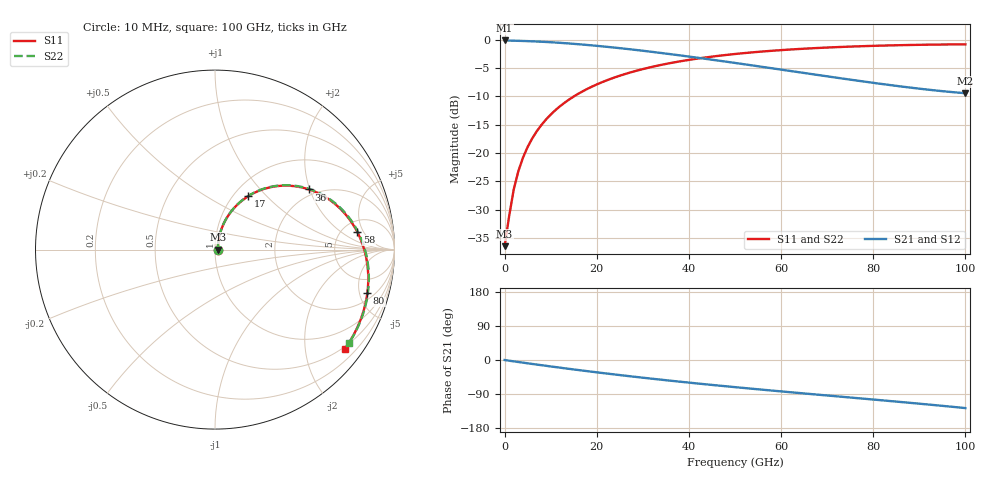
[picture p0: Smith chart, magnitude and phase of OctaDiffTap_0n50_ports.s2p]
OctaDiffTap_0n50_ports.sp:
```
* EQUIVALENT CIRCUIT FOR VECTOR FITTED S-MATRIX
* Created using scikit-rf vectorFitting.py
*
.SUBCKT s_equivalent p1 p2
*
* Port network for port 1
V1 p1 s1 0
R1 s1 0 50.0
Gd1_1 0 s1 p1 0 0.01599552009312769
Fd1_1 0 s1 V1 0.7997760046563844
Gr1_1_1 0 s1 x1_a1 0 -113489731719.4645
Gr2_re_1_1 0 s1 x2_re_a1 0 -180560594580.17593
Gr2_im_1_1 0 s1 x2_im_a1 0 -190664932451.18768
Gd1_2 0 s1 p2 0 0.0006462217204273629
Fd1_2 0 s1 V2 0.032311086021368146
Gr1_1_2 0 s1 x1_a2 0 111353248351.99422
Gr2_re_1_2 0 s1 x2_re_a2 0 -10677567519.90538
Gr2_im_1_2 0 s1 x2_im_a2 0 71355888488.53864
*
* State networks driven by port 1
Cx1_a1 x1_a1 0 1.0
Gx1_a1 0 x1_a1 p1 0 0.07071067811865475
Fx1_a1 0 x1_a1 V1 3.5355339059327378
Rp1_a1 0 x1_a1 3.516765606843797e-12
Cx2_re_a1 x2_re_a1 0 1.0
Gx2_re_a1 0 x2_re_a1 p1 0 0.1414213562373095
Fx2_re_a1 0 x2_re_a1 V1 7.0710678118654755
Rp2_re_re_a1 0 x2_re_a1 2.172697531740705e-12
Gp2_re_im_a1 0 x2_re_a1 x2_im_a1 0 1005660947023.6617
Cx2_im_a1 x2_im_a1 0 1.0
Gp2_im_re_a1 0 x2_im_a1 x2_re_a1 0 -1005660947023.6617
Rp2_im_im_a1 0 x2_im_a1 2.172697531740705e-12
*
* Port network for port 2
V2 p2 s2 0
R2 s2 0 50.0
Gd2_1 0 s2 p1 0 0.0006462217204283689
Fd2_1 0 s2 V1 0.032311086021418446
Gr1_2_1 0 s2 x1_a1 0 111353248361.01268
Gr2_re_2_1 0 s2 x2_re_a1 0 -10677567508.052387
Gr2_im_2_1 0 s2 x2_im_a1 0 71355888501.45067
Gd2_2 0 s2 p2 0 0.015010845901443082
Fd2_2 0 s2 V2 0.7505422950721541
Gr1_2_2 0 s2 x1_a2 0 -111624789282.55933
Gr2_re_2_2 0 s2 x2_re_a2 0 -164965820262.4912
Gr2_im_2_2 0 s2 x2_im_a2 0 -188164020795.7557
*
* State networks driven by port 2
Cx1_a2 x1_a2 0 1.0
Gx1_a2 0 x1_a2 p2 0 0.07071067811865475
Fx1_a2 0 x1_a2 V2 3.5355339059327378
Rp1_a2 0 x1_a2 3.516765606843797e-12
Cx2_re_a2 x2_re_a2 0 1.0
Gx2_re_a2 0 x2_re_a2 p2 0 0.1414213562373095
Fx2_re_a2 0 x2_re_a2 V2 7.0710678118654755
Rp2_re_re_a2 0 x2_re_a2 2.172697531740705e-12
Gp2_re_im_a2 0 x2_re_a2 x2_im_a2 0 1005660947023.6617
Cx2_im_a2 x2_im_a2 0 1.0
Gp2_im_re_a2 0 x2_im_a2 x2_re_a2 0 -1005660947023.6617
Rp2_im_im_a2 0 x2_im_a2 2.172697531740705e-12
.ENDS s_equivalent
```
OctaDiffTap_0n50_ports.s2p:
#  GHZ S DB R 50.0
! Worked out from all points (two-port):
!   102 points, 10 MHz to 100 GHz, reference 50 ohm
!   highest |S21| = -0.13 dB at 10 MHz (marker M1); lowest = -9.5 dB at 100 GHz (marker M2)
!   |S21| within 3 dB of the highest: start of sweep to 41.39 GHz
!   lowest |S11| = -36.5 dB at 10 MHz (marker M3), VSWR 1.03, Z = 51.5 + j0.0248 ohm
!   |S11| at or under -10 dB: start of sweep to 15.08 GHz
!   |S22| runs from -36.5 to -0.8 dB; largest |S21 - S12| = 2e-09
!   S11 on the Smith chart (normalised r, x): 10 MHz: 1.03, +0.00; 17 GHz: 1.17, +0.79; 36 GHz: 1.81, +1.98; 58 GHz: 6.83, +3.74; 80 GHz: 2.69, -5.93; 100 GHz: 0.45, -2.88
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0.01  -36.48 0.9  -0.13 -0.0  -0.13 -0.0  -36.48 0.9
2  -26.41 66.9  -0.17 -3.6  -0.17 -3.6  -26.44 66.9
5  -18.96 72.7  -0.25 -8.7  -0.25 -8.7  -18.97 72.8
10  -13.24 67.8  -0.45 -17.0  -0.45 -17.0  -13.24 67.9
17  -9.09 58.0  -0.86 -28.0  -0.86 -28.0  -9.10 58.3
26  -6.10 45.6  -1.58 -41.2  -1.58 -41.2  -6.11 45.9
36  -4.13 32.6  -2.55 -54.6  -2.55 -54.6  -4.13 33.1
51  -2.44 14.9  -4.22 -72.8  -4.22 -72.8  -2.45 15.7
58  -1.96 7.2  -5.04 -80.6  -5.04 -80.6  -1.96 8.1
80  -1.08 -16.0  -7.62 -104.3  -7.62 -104.3  -1.09 -14.4
100  -0.82 -37.5  -9.45 -126.9  -9.45 -126.9  -0.82 -35.1
